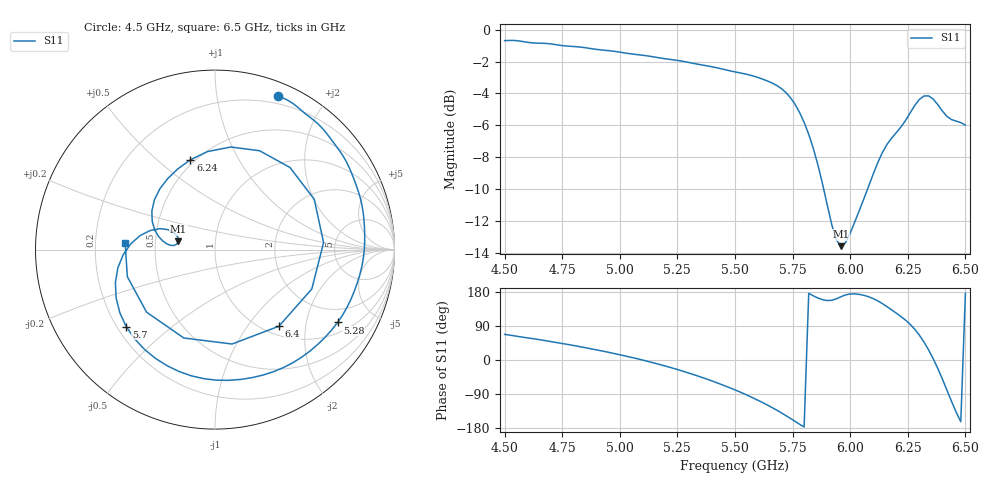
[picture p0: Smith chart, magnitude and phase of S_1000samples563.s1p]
! TOUCHSTONE file generated by CST MICROWAVE STUDIO
! Date and time: Fri Oct 28 14:57:15 2022
! Project name: L.cst
! Parameters = {Di=1.27; Epsilon_r=1.56; InnerDiameter=1.27; Length=2; Lf=10; Lg=60; OuterConductorThickness=0.2921; OuterDiameter=3.6; Wf=3; Wp=41.2; de=1.5; df=6.8; g=0.8; gx=1.53657; gy=1.29911; h=2.34; hf=1.524; px=8.07726; py=12.408; w=9.7; wx=6.54069; wy=11.1089}
! Header version: 2018
! Port assignment regex: !\s*Touchstone port\s*([0-9]+)\s*=\s*(CST MWS port|CST DS port)\s*([0-9]+|Zmin|Zmax)\s*\(\"(.*)\"\)(\s*mode\s*([0-9]+))?.*
! Touchstone port assignment:
! Touchstone port 1 = CST MWS port 1 ("")
# GHz S DB R 50
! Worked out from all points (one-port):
!   101 points, 4.5 GHz to 6.5 GHz, reference 50 ohm
!   lowest |S11| = -13.6 dB at 5.96 GHz (marker M1), VSWR 1.53, Z = 32.9 + j3.24 ohm
!   |S11| at or under -10 dB: 5.885 GHz to 6.075 GHz (190.5 MHz wide, 3.19 % of centre)
!   S11 on the Smith chart (normalised r, x): 4.5 GHz: 0.13, +1.49; 5.28 GHz: 1.39, -3.06; 5.7 GHz: 0.24, -0.35; 6.24 GHz: 0.47, +0.65; 6.4 GHz: 1.16, -1.43; 6.5 GHz: 0.33, +0.03
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4.5  -0.68 67.6
4.76  -1.01 42.5
5  -1.41 13.8
5.14  -1.69 -6.5
5.26  -1.95 -27.0
5.28  -2.00 -30.7
5.4  -2.32 -55.3
5.5  -2.65 -78.9
5.6  -3.00 -106.4
5.7  -3.68 -139.1
5.76  -4.67 -161.7
5.86  -8.49 163.5
5.96  -13.59 167.0
6  -12.77 174.3
6.08  -9.83 166.9
6.14  -7.70 148.6
6.24  -5.70 105.3
6.26  -5.23 94.3
6.3  -4.38 65.7
6.34  -4.15 26.9
6.36  -4.35 3.7
6.38  -4.70 -22.1
6.4  -5.10 -50.2
6.42  -5.44 -79.7
6.44  -5.64 -109.4
6.46  -5.74 -137.6
6.48  -5.83 -162.8
6.5  -5.99 176.0
